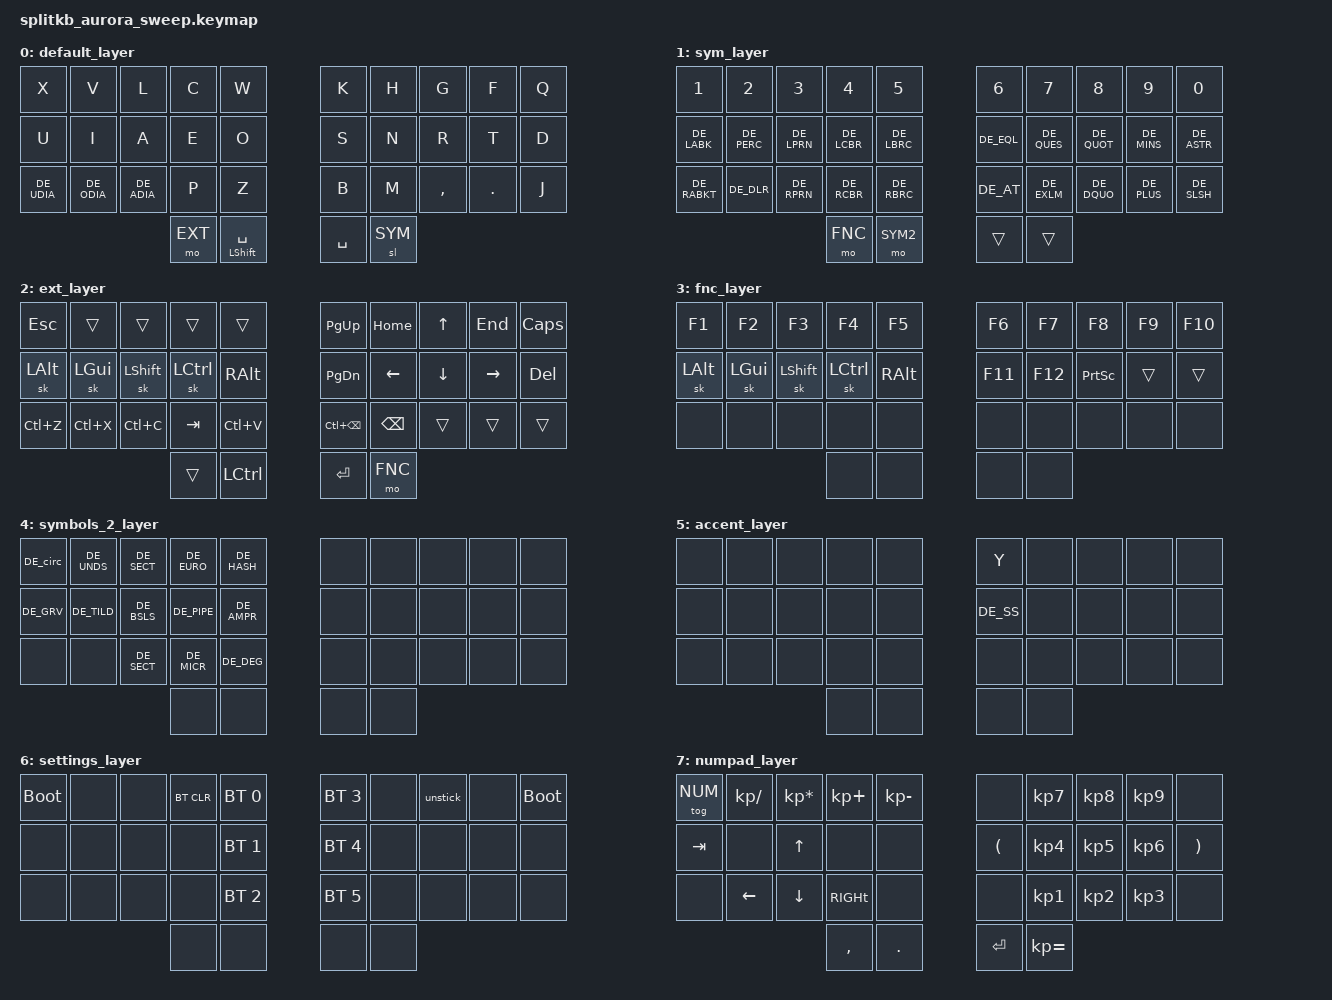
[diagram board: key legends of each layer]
/*
 * Copyright (c) 2022 The ZMK Contributors
 *
 * SPDX-License-Identifier: MIT
 */

#include <behaviors.dtsi>
#include <dt-bindings/zmk/keys.h>
#include <dt-bindings/zmk/bt.h>
#include "keys_de.h"                // information found on: https://github.com/zmkfirmware/zmk/issues/177#issuecomment-1306247821

//Layer definitions
// Most of it copied from: https://github.com/duckyb/zmk-sweep/blob/main/config/cradio.keymap

#define BASE 0
#define SYM 1
#define EXT 2
#define FNC 3
#define SYM2 4
#define ACCENT 5 // Not used in german language. In qwertz always typed by using acute/grave and letter
#define SETTINGS 6
#define NUM 7

&mt {
  //  flavor = "tap-preferred";
   // tapping_term_ms = <200>;
};

&sk {
    ignore-modifiers;
};

/ {
    macros {
            // sometimes my device thinks a modifier is being held down
            // pressing all modifiers fixes it.
            unstick: unstick {
                label = "ZM_unstick";
                compatible = "zmk,behavior-macro";
                #binding-cells = <0>;
                bindings
                    = <&kp LSHIFT &kp RSHIFT &kp LCTRL &kp RCTRL &kp LALT &kp RALT &kp LGUI &kp RGUI>;
            };
    };

    combos {
        compatible = "zmk,combos";
        combo_accent {
            timeout-ms = <300>;
            key-positions = <32 33>; // both right thumb keys
            bindings = <&mo ACCENT>;
        };
        
        combo_sym2 {
                timeout-ms = <300>;
                key-positions = <31 33>; // internal-left & external-right thumb keys
                bindings = <&mo SYM2>;
        };
        
        combo_settings {
                timeout-ms = <300>;
                key-positions = <30 32>; // external-left & internal right thumb keys
                bindings = <&mo SETTINGS>;
        };

        combo_numpad {
            timeout-ms = <300>;
            key-positions = <30 31>; // both left thumb keys
            bindings = <&tog NUM>;
        };
              
    };

    keymap {
        compatible = "zmk,keymap";             

        // Base alpha layer (based on Neo2)
        //                    | X | V | L | C | W |    | K | H | G | F | Q | (ß)
        //                    | U | I | A | E | O |    | S | N | R | T | D | (y)
        //                    | Ü | Ö | Ä | P | Z |    | B | M | , | . | J |
        //               | mo(EXT) | mt(lsft,spc) |    | spc | sl(SYM) | 
        // &lt(layer,keycode) -> Activates the layer when held, and sends the keycode when tapped.
        // &mo(layer) -> activates the layer when held, and returns you back to the layer you came from when you release the key
        // &sl(layer) -> activates the layer when pressed until another key is pressed (no holding required)
        // &trans -> transparent behavior simply ignores key position presses/releases, so the will be passed down to the next active layer in the stack
    
        default_layer {
        bindings = <
            &kp X &kp V &kp L &kp C &kp W           &kp K &kp H  &kp G     &kp F   &kp Q 
            &kp U &kp I &kp A &kp E &kp O           &kp S &kp N  &kp R     &kp T &kp D
            &kp DE_UDIA &kp DE_ODIA &kp DE_ADIA &kp P &kp Z           &kp B &kp M  &kp COMMA &kp DOT &kp J
                    &mo EXT &mt LSHIFT SPACE           &kp SPACE &sl SYM
            >;
        };

        // Numbers and high frequency symbols
        sym_layer {
        bindings = <
            &kp N1 &kp N2 &kp N3 &kp N4 &kp N5		                                    &kp N6 &kp N7 &kp N8 &kp N9 &kp N0
            &kp DE_LABK &kp DE_PERC &kp DE_LPRN &kp DE_LCBR &kp DE_LBRC     &kp DE_EQL &kp DE_QUES &kp DE_QUOT &kp DE_MINS &kp DE_ASTR
            &kp DE_RABKT &kp DE_DLR &kp DE_RPRN &kp DE_RCBR &kp DE_RBRC 	&kp DE_AT &kp DE_EXLM &kp DE_DQUO &kp DE_PLUS &kp DE_SLSH
                                                                &mo FNC  &mo SYM2       &trans &trans
            >;
        };

        // Main modifiers and arrow keys
        ext_layer {
        bindings = <
            &kp ESC  &trans &trans  &trans  &trans    			        &kp PG_UP  &kp HOME &kp UP &kp END &kp CAPS
            &sk LALT &sk LGUI  &sk LSHIFT  &sk LCTRL  &kp RALT 			&kp PG_DN &kp LEFT  &kp DOWN  &kp RIGHT   &kp DEL
            &kp LC(Z)  &kp LC(X) &kp LC(C) &kp TAB   &kp LC(V)          &kp LC(BSPC) &kp BSPC &trans &trans  &trans
                                                &trans &kp LCTRL    &kp ENTER  &mo FNC 
            >;
        };

        // Function keys with modifiers
        fnc_layer {
        bindings = <
            &kp F1 &kp F2 &kp F3 &kp F4 &kp F5                  &kp F6 &kp F7 &kp F8 &kp F9 &kp F10 
            &sk LALT &sk LGUI &sk LSHIFT &sk LCTRL &kp RALT     &kp F11 &kp F12  &kp PRINTSCREEN &trans &trans
            &none &none &none &none &none				          &none &none &none &none &none 
                                        &none &none              &none &none  
            >;
        };

        // Low frequency symbols.
        symbols_2_layer {
        bindings = <
            &kp DE_circ &kp DE_UNDS &kp DE_SECT &kp DE_EURO &kp DE_HASH         &none &none &none &none &none 
            &kp DE_GRV &kp DE_TILD &kp DE_BSLS &kp DE_PIPE &kp DE_AMPR         &none &none &none &none &none
            &none &none &kp DE_SECT &kp DE_MICR &kp DE_DEG				  &none &none &none &none &none
                                                    &none &none        	&none &none 
         >;
        };

        // Used to type regional accents. Not neccessary for german, but still missing some letters, therefore y and ß have been placed here
        accent_layer {
        bindings = <
            // &none &none &none &kp IT_CEGR &none                         &none &none &none &none &none 
            // &kp IT_AGRV &kp IT_IGRV &kp IT_OGRV &kp IT_EGRV &kp IT_EACU &none &none &none &none &none
            // &none &none &none &kp IT_UGRV &none                         &none &none &none &none &none
            //                        &none &none                         &none &none 
            &none &none &none &none &none       &kp Y &none &none &none &none
            &none &none &none &none &none       &DE_SS &none &none &none &none
            &none &none &none &none &none       &none &none &none &none &none
                                &none &none   &none &none
            >;
        };

        // Used to change the keyboard's settings.
        settings_layer {
        bindings = <
            &bootloader &none &none &bt BT_CLR &bt BT_SEL 0               &bt BT_SEL 3 &none &unstick &none &bootloader 
            &none &none &none &none      &bt BT_SEL 1 						  &bt BT_SEL 4 &none &none &none &none
            &none &none &none &none      &bt BT_SEL 2               &bt BT_SEL 5 &none &none &none &none
                                    &none &none                         &none &none 
            >;
        };

        // Numpad layer
        numpad_layer {
            bindings = <
            &tog NUM &kp KP_DIVIDE &kp KP_MULTIPLY &kp KP_PLUS &kp KP_MINUS     &none &kp KP_N7 &kp KP_N8 &kp KP_N9 &none
            &kp TAB &none &kp UP &none &none        &kp LPAR &kp KP_N4 &kp KP_N5 &kp KP_N6 &kp RPAR
            &none &kp LEFT &kp DOWN &kp RIGHt &none        &none &kp KP_N1 &kp KP_N2 &kp KP_N3 &none
                        &kp COMMA &kp DOT       &kp ENTER &kp KP_EQUAL
            >;
        };
        
	};
};
